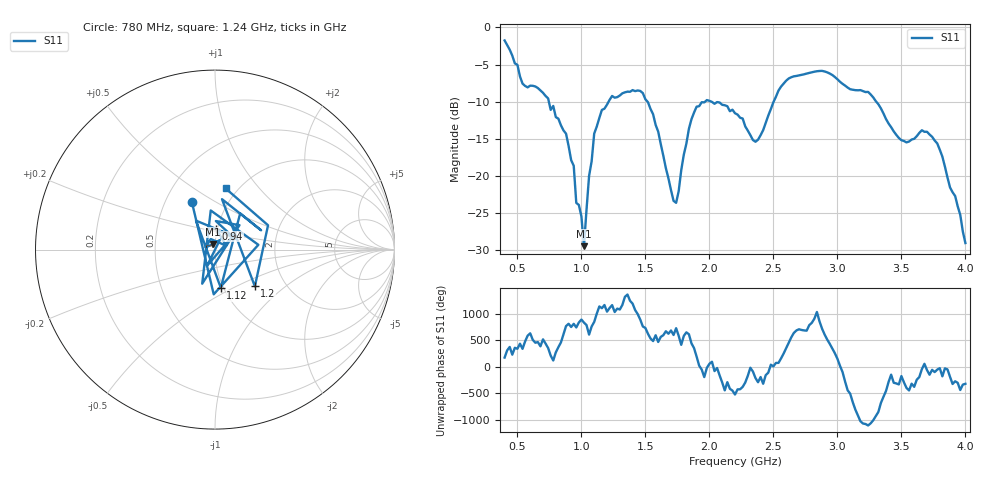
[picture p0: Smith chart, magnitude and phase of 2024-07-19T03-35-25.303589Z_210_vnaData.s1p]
!Created with skrf (http://scikit-rf.org).
# Hz S RI R 50.0
!freq ReS11 ImS11
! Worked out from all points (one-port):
!   181 points, 400 MHz to 4 GHz, reference 50 ohm
!   lowest |S11| = -29.4 dB at 1.02 GHz (marker M1), VSWR 1.07, Z = 48.7 + j3.08 ohm
!   |S11| at or under -10 dB: 745.8 MHz to 1.212 GHz (466.6 MHz wide, 47.7 % of centre); 2.016 GHz to 2.502 GHz (485.4 MHz wide, 21.5 % of centre); 3.304 GHz to end of sweep (the widest 3 of 4)
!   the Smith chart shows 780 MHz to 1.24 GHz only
!   S11 on the Smith chart (normalised r, x): 780 MHz: 0.68, +0.40; 940 MHz: 0.98, +0.23; 1.12 GHz: 0.97, -0.43; 1.2 GHz: 1.40, -0.63; 1.24 GHz: 0.88, +0.68
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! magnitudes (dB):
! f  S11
! 400 MHz  -1.8
! 540 MHz  -7.6
! 780 MHz  -10.6
! 860 MHz  -13.9
! 940 MHz  -18.6
! 960 MHz  -23.6
! 1 GHz  -25.4
! 1.02 GHz  -29.4
! 1.06 GHz  -20.0
! 1.12 GHz  -13.3
! 1.2 GHz  -10.4
! 1.24 GHz  -9.2
! 1.3 GHz  -9.2
! 1.48 GHz  -8.8
! 1.6 GHz  -14.0
! 1.72 GHz  -23.3
! 1.76 GHz  -22.0
! 1.84 GHz  -13.6
! 1.9 GHz  -10.7
! 2.2 GHz  -11.6
! 2.36 GHz  -15.4
! 2.66 GHz  -6.6
! 3.1 GHz  -8.3
! 3.24 GHz  -8.7
! 3.56 GHz  -15.4
! 3.66 GHz  -13.8
! 3.78 GHz  -15.6
! 4 GHz  -29.0
